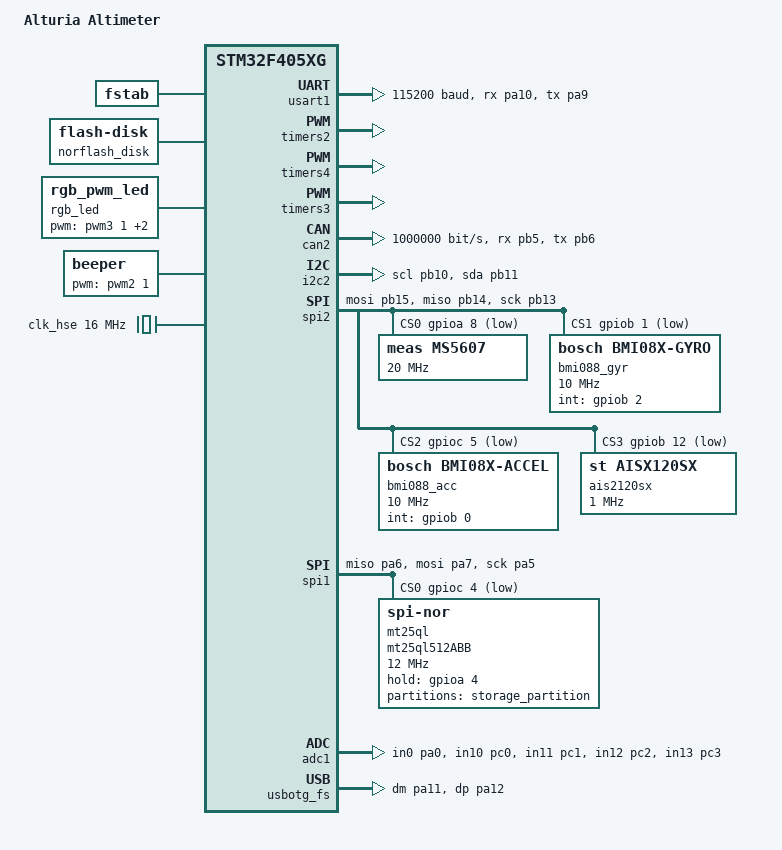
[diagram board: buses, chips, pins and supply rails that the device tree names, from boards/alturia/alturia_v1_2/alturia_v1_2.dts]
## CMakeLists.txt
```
cmake_minimum_required(VERSION 3.13.1)

set(BOARD_ROOT ${CMAKE_CURRENT_LIST_DIR})

if(BOARD MATCHES alturia_v1_2)
	set(BOARD_FLASH_RUNNER jlink)
	set(BOARD_DEBUG_RUNNER jlink)
endif()

set(DTS_ROOT ${CMAKE_CURRENT_LIST_DIR})
set(CMAKE_EXPORT_COMPILE_COMMANDS ON)
set(ZEPHYR_EXTRA_MODULES ${CMAKE_CURRENT_LIST_DIR}/lib/zephyr-lua)
find_package(Zephyr REQUIRED HINTS $ENV{ZEPHYR_BASE})
#include($ENV{ZEPHYR_BASE}/cmake/app/boilerplate.cmake NO_POLICY_SCOPE)


project(alturia_firmware)

set_property(TARGET app PROPERTY C_STANDARD 11)
target_include_directories(app PRIVATE src/generated/
				       src/filter/
				       src/
				       src/configuration
				       src/execution_engine/
				       src/lua_execution_engine/
					   lib/cJSON/)

function(cached_symbolic_codegen)
	cmake_parse_arguments(
		ARGS
		""
		"TARGET;SYMBOLIC_SCRIPT;SYSNAME"
		""
		${ARGN}
	)

	add_custom_command(OUTPUT ${CMAKE_CURRENT_LIST_DIR}/design/${ARGS_SYSNAME}.pkl
			   COMMAND python ${ARGS_SYMBOLIC_SCRIPT} --outfile ${CMAKE_CURRENT_LIST_DIR}/design/${ARGS_SYSNAME}.pkl
			   DEPENDS ${ARGS_SYMBOLIC_SCRIPT}
			   COMMENT "Generate symbolic representation of ${ARGS_SYSNAME}r")

	add_custom_command(OUTPUT ${CMAKE_CURRENT_LIST_DIR}/src/generated/${ARGS_SYSNAME}.c
				  ${CMAKE_CURRENT_LIST_DIR}/src/generated/${ARGS_SYSNAME}.h
			   COMMAND python ${CMAKE_CURRENT_LIST_DIR}/design/codegen.py
					--input ${CMAKE_CURRENT_LIST_DIR}/design/${ARGS_SYSNAME}.pkl
					--prefix ${ARGS_SYSNAME}
					--outdir ${CMAKE_CURRENT_LIST_DIR}/src/generated &&
					uncrustify --replace --no-backup -l C -c ${CMAKE_CURRENT_LIST_DIR}/.uncrustify.cfg ${CMAKE_CURRENT_LIST_DIR}/src/generated/${ARGS_SYSNAME}.c >/dev/null 2>&1 &&
					uncrustify --replace --no-backup -l C -c ${CMAKE_CURRENT_LIST_DIR}/.uncrustify.cfg ${CMAKE_CURRENT_LIST_DIR}/src/generated/${ARGS_SYSNAME}.h >/dev/null 2>&1
			   DEPENDS ${CMAKE_CURRENT_LIST_DIR}/design/${ARGS_SYSNAME}.pkl
			   COMMENT "Generate c code for ${ARGS_SYSNAME}")

	target_sources(${ARGS_TARGET} PRIVATE ${CMAKE_CURRENT_LIST_DIR}/src/generated/${ARGS_SYSNAME}.c
					      ${CMAKE_CURRENT_LIST_DIR}/src/generated/${ARGS_SYSNAME}.h)
endfunction()

function(symbolic_codegen)
	cmake_parse_arguments(
		ARGS
		""
		"TARGET;SYMBOLIC_SCRIPT;PREFIX"
		""
		${ARGN}
	)

	add_custom_command(OUTPUT ${CMAKE_CURRENT_LIST_DIR}/src/generated/${ARGS_PREFIX}.c
				  ${CMAKE_CURRENT_LIST_DIR}/src/generated/${ARGS_PREFIX}.h
				  COMMAND python ${ARGS_SYMBOLIC_SCRIPT}
				  --prefix ${ARGS_PREFIX}
				  --outdir ${CMAKE_CURRENT_LIST_DIR}/src/generated &&
				  uncrustify --replace --no-backup -l C -c ${CMAKE_CURRENT_LIST_DIR}/.uncrustify.cfg ${CMAKE_CURRENT_LIST_DIR}/src/generated/${ARGS_PREFIX}.c >/dev/null 2>&1 &&
				  uncrustify --replace --no-backup -l C -c ${CMAKE_CURRENT_LIST_DIR}/.uncrustify.cfg ${CMAKE_CURRENT_LIST_DIR}/src/generated/${ARGS_PREFIX}.h >/dev/null 2>&1
		     DEPENDS ${ARGS_SYMBOLIC_SCRIPT}
		     COMMENT "Generate c code for ${ARGS_PREFIX}")

	target_sources(${ARGS_TARGET} PRIVATE ${CMAKE_CURRENT_LIST_DIR}/src/generated/${ARGS_PREFIX}.c
					      ${CMAKE_CURRENT_LIST_DIR}/src/generated/${ARGS_PREFIX}.h)
endfunction()

cached_symbolic_codegen(TARGET app
	SYMBOLIC_SCRIPT ${CMAKE_CURRENT_LIST_DIR}/design/altitude_kalman_filter.py
	SYSNAME altitude_kalman_impl)

cached_symbolic_codegen(TARGET app
	SYMBOLIC_SCRIPT ${CMAKE_CURRENT_LIST_DIR}/design/vertical_dynamics_kalman_filter.py
	SYSNAME vertical_dynamics_kalman_impl)

cached_symbolic_codegen(TARGET app
	SYMBOLIC_SCRIPT ${CMAKE_CURRENT_LIST_DIR}/design/constant_altitude_kalman_filter.py
	SYSNAME constant_altitude_kalman_impl)

symbolic_codegen(TARGET app
	SYMBOLIC_SCRIPT ${CMAKE_CURRENT_LIST_DIR}/design/transformations.py
	PREFIX transformations_impl)

symbolic_codegen(TARGET app
	SYMBOLIC_SCRIPT ${CMAKE_CURRENT_LIST_DIR}/design/attitude_estimation.py
	PREFIX attitude_estimation_impl)

symbolic_codegen(TARGET app
	SYMBOLIC_SCRIPT ${CMAKE_CURRENT_LIST_DIR}/design/mahony_filter.py
	PREFIX mahohny_attitude_estimation_impl)

zephyr_linker_sources(DATA_SECTIONS iterables.ld)

target_sources(app PRIVATE src/util.c
			   src/signals.c
			   src/sysinit.c
			   src/alturia.c
			   src/beeper.c
			   #src/pil.c
			   src/main.c
			   src/led.c
			   src/events2.c
			   src/datalogger.c
			   src/is_atmosphere.c
			   src/pyros.c
			   src/daq.c
			   src/daq_sensor.c
			   src/generic.c
			   src/filter/kalman_filter.c
			   src/filter/attitude_estimation.c
			   src/math_ex.c
			   src/servos.c
			   src/eventtimer.c
			   src/edge_detector.c
			   src/config_yaml.c
			   src/config_shell.c
			   src/servo_shell.c
			   src/lua_execution_engine/lua_execution_engine.c
			   src/lua_execution_engine/lua_ledlib.c
			   src/lua_execution_engine/lua_timerlib.c
			   src/lua_execution_engine/lua_servolib.c
			   src/lua_execution_engine/lua_signallib.c
			   src/lua_execution_engine/lua_eventlib.c
			   src/lua_execution_engine/lua_pyrolib.c
			   src/rocket/signal_processing.c
			   src/rocket/flightstate.c
			   src/rocket/data_logging.c
			   src/rocket/beeper_logic.c
			   src/pwm_rgb_led.c
			   src/filter/pt1.c
			   lib/cJSON/cJSON.c)
```

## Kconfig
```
menu "Alturia"
	config SERVOS
		bool "Enable servo support"
		default $(dt_has_compat,servos)

	menu "Datalogger"
		module := DATALOGGER
		module-str := Datalogger
		rsource "Kconfig.loglevel"

		config DATALOGGER_THREAD_PRIORITY
			int "Datalogger thread priority"
			default 0
		config DATALOGGER_STACK_SIZE
			int "Stack size for datalogger thread"
			default 2048
		config DATALOGGER_BUFFER_SIZE
			int "Buffer size in bytes"
			default 1024
			help
				Buffer size for internal datalogger memory allocations
	endmenu

	menuconfig PYROS
		bool "Pyros"
		default $(dt_has_compat, pyros)

		if PYROS
		config PYROS_ON_TIME
			int "On time"
			default 1000
			help
			Pyro on time in milliseconds
		endif

	menu "DAQ"
		module := DAQ
		module-str := DAQ
		rsource "Kconfig.loglevel"

		config DAQ_PRIO
			int "Priority of daq thread"
			default 0
		config SENSOR_DAQ_STACK_SIZE
			int "Stack size for sensor daq threads"
			default 512
	endmenu

	menu "Lua"
		config LUA_WORKER_PRIO
			int "Priority of lua work handler"
			default 0
	endmenu

	menu "Event system"
		config EVENT_HANDLER_THREAD_STACK_SIZE
			int "Stack size of async event handler thread"
			default 2048

		config EVENT_QUEUE_LENGTH
			int "Maximum number of enqueued async events"
			default 256

		config EVENT_TIMERS_NUMBER
			int "Maximum number of event timers"
			default 8
	endmenu
endmenu

source "$ZEPHYR_BASE/Kconfig"
```

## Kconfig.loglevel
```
# SPDX-License-Identifier: Apache-2.0

choice
	prompt "Max compiled-in log level for $(module-str)"
	default $(module)_LOG_LEVEL_INF
	depends on LOG

config $(module)_LOG_LEVEL_OFF
	bool "Off"

config $(module)_LOG_LEVEL_ERR
	bool "Error"

config $(module)_LOG_LEVEL_WRN
	bool "Warning"

config $(module)_LOG_LEVEL_INF
	bool "Info"

config $(module)_LOG_LEVEL_DBG
	bool "Debug"

endchoice

config $(module)_LOG_LEVEL
	int
	depends on LOG
	default 0 if $(module)_LOG_LEVEL_OFF
	default 1 if $(module)_LOG_LEVEL_ERR
	default 2 if $(module)_LOG_LEVEL_WRN
	default 3 if $(module)_LOG_LEVEL_INF
	default 4 if $(module)_LOG_LEVEL_DBG
```

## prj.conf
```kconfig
#
# Kernel
#
CONFIG_KERNEL_SHELL=y
CONFIG_SCHED_MULTIQ=y
CONFIG_WAITQ_SCALABLE=y
CONFIG_REBOOT=y

#
# Shell
#
CONFIG_SHELL_THREAD_PRIORITY_OVERRIDE=y
CONFIG_SHELL_THREAD_PRIORITY=2

#
# Application
#
CONFIG_SENSOR=y
CONFIG_CMSIS_DSP=y
CONFIG_MAIN_THREAD_PRIORITY=-1
CONFIG_MAIN_STACK_SIZE=2048
CONFIG_LOG=y
CONFIG_LOG_MODE_DEFERRED=y

CONFIG_NEWLIB_LIBC=y
CONFIG_NEWLIB_LIBC_FLOAT_PRINTF=y
CONFIG_MAIN_STACK_SIZE=2048

CONFIG_LOG=y
CONFIG_SHELL=y
CONFIG_SHELL_PROMPT_UART="alturia:~$ "
CONFIG_DEVICE_SHELL=y
CONFIG_HEAP_MEM_POOL_SIZE=8192
CONFIG_DATALOGGER_BUFFER_SIZE=4096
CONFIG_DATALOGGER_THREAD_PRIORITY=3
CONFIG_SMF=y

#
# Lua
#
CONFIG_LUA=y
CONFIG_LUA_WORKER_PRIO=0
CONFIG_LUA_BASELIB=y
```

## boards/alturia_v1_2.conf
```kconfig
#CONFIG_SYS_POWER_MANAGEMENT=y
CONFIG_SERIAL=y
CONFIG_ARM_MPU=y
CONFIG_MPU_STACK_GUARD=y
CONFIG_PINCTRL=y

#
# Sensors
#
CONFIG_MS5607=y
CONFIG_MS5607_PRES_OVER_512X=y
CONFIG_MS5607_TEMP_OVER_512X=y

#
# Disk option
#
CONFIG_DISK_ACCESS=y
CONFIG_DISK_DRIVER_FLASH=y

#
# USB Options
#
CONFIG_USB_DEVICE_STACK=y
CONFIG_USB_DEVICE_MANUFACTURER="Thomas Schmid"
CONFIG_USB_DEVICE_PRODUCT="Alturia Altimeter"
CONFIG_USB_COMPOSITE_DEVICE=y
CONFIG_UART_LINE_CTRL=y
CONFIG_USB_MASS_STORAGE=y
CONFIG_USB_CDC_ACM=y
CONFIG_MASS_STORAGE_STACK_SIZE=2048
CONFIG_MASS_STORAGE_DISK_NAME="NOR_FLASH"

#
# Filesystem
#
CONFIG_FLASH=y
CONFIG_FLASH_MAP=y
CONFIG_SPI_NOR_FLASH_LAYOUT_PAGE_SIZE=4096
CONFIG_FILE_SYSTEM=y
CONFIG_FILE_SYSTEM_LITTLEFS=y
CONFIG_FILE_SYSTEM_SHELL=y
```

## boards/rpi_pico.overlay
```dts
/ {
	chosen {
		zephyr,shell-uart = &cdc_acm_uart0;
		//zephyr,shell-uart = &uart0;
	};

	aliases {
		pressure-sensor = &bmp;
		led = &board_led;
	};

	board_led: board_led {
		compatible = "rgb_pwm_led";
		status = "ok";
		pwms = <&pwm 3 PWM_MSEC(20) PWM_POLARITY_INVERTED>,
			   <&pwm 4 PWM_MSEC(20) PWM_POLARITY_INVERTED>,
			   <&pwm 5 PWM_MSEC(20) PWM_POLARITY_INVERTED>;
		pwm-names = "r", "g", "b";
	};

	pyros: pyros {
		compatible = "pyros";
		pyro1 {
			gpios = <&gpio0 5 0>;
		};
		pyro2 {
			gpios = <&gpio0 6 0>;
		};
		pyro3 {
			gpios = <&gpio0 7 0>;
		};
		pyro4 {
			gpios = <&gpio0 8 0>;
		};
	};
};

&pwm {
	status = "ok";
	pinctrl-0 = <&pwm_default>;
	pinctrl-names = "default";
	divider-int-0 = <255>;
};

&flash0 {
	reg = <0x10000000 DT_SIZE_M(2)>;

	partitions {
		compatible = "fixed-partitionws";
		#address-cells = <1>;
		#size-cells = <1>;

		/* Reserved memory for the second stage bootloader */
		second_stage_bootloader: partition@0 {
			label = "second_stage_bootloader";
			reg = <0x00000000 0x100>;
			read-only;
		};

		/*
		 * Usable flash. Starts at 0x100, after the bootloader. The partition
		 * size is 2MB minus the 0x100 bytes taken by the bootloader.
		 */
		code_partition: partition@100 {
			label = "code-partition";
			reg = <0x100 (DT_SIZE_M(2) - 0x100)>;
			read-only;
		};
	};
};

&uart0 {
	status = "ok";
	pinctrl-0 = <&uart0_default>;
	pinctrl-names = "default";
};

&i2c0 {
	status = "ok";
	pinctrl-0 = <&i2c0_selected>;
	pinctrl-names = "default";
	bmp: bmp@76 {
		compatible = "bosch,bme280";
		label = "bmp280";
		status = "ok";
		reg = <0x76>;
	};	
};

&pinctrl {
	uart0_default: uart0_default {
		group1 {
			pinmux = <UART0_TX_P0>;
		};
		group2 {
			pinmux = <UART0_RX_P1>;
		};
	};

	i2c0_selected: i2c0_selected {
		group1 {
			pinmux = <I2C0_SDA_P20>, <I2C0_SCL_P21>;
			input-enable;
			input-schmitt-enable;
		};
	};

	pwm_default: pwm_default {
		group1 {
			pinmux = <PWM_1B_P3>, <PWM_2A_P4>, <PWM_2B_P5>;
		};
	};
};

&zephyr_udc0 {
	cdc_acm_uart0: cdc_acm_uart0 {
		compatible = "zephyr,cdc-acm-uart";
		label = "CDC_ACM_0";
	};
};
```

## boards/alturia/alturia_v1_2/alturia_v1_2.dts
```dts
/dts-v1/;
#include <st/f4/stm32f405Xg.dtsi>
#include <st/f4/stm32f405rgtx-pinctrl.dtsi>


/ {
	model = "Alturia Altimeter";
	compatible = "alturia_v1_2";

	chosen {
		zephyr,console = &usart1;
		//zephyr,shell-uart = &usart1;
		zephyr,shell-uart = &cdc_acm_uart0;
		zephyr,sram = &sram0;
		zephyr,flash = &flash0;
		zephyr,code-partition = &slot0_partition;
		zephyr,ccm = &ccm0;
	};

	aliases {
		pressure-sensor = &ms5607;
		acc-sensor = &bmi088_acc;
		gyro-sensor = &bmi088_gyr;
		highg-sensor = &ais2120sx;
		norflash = &mt25ql;
		led = &rgb_led;
	};

	fstab {
		compatible = "zephyr,fstab";
		lfs: lfs {
			compatible = "zephyr,fstab,littlefs";
			mount-point = "/lfs";
			partition = <&storage_partition>;
			automount;
			read-size = <16>;
			prog-size = <16>;
			cache-size = <64>;
			lookahead-size = <32>;
			block-cycles = <2048>;
		};
	};

	norflash_disk {
		compatible = "zephyr,flash-disk";
		partition = <&storage_partition>;
		disk-name = "NOR_FLASH";
		cache-size = <4096>;
	};

	rgb_led: rgb_led {
		compatible = "rgb_pwm_led";

		pwms = <&pwm3 1 100000 PWM_POLARITY_INVERTED>,
			   <&pwm3 2 100000 PWM_POLARITY_INVERTED>,
			   <&pwm3 3 100000 PWM_POLARITY_INVERTED>;

		pwm-names = "r", "g", "b";
	};

	pyros: pyros {
		compatible = "pyros";
		pyro1 {
			gpios = <&gpioa 2 0>;
		};
		pyro2 {
			gpios = <&gpioa 1 0>;
		};
		pyro3 {
			gpios = <&gpioc 14 0>;
		};
		pyro4 {
			gpios = <&gpioa 3 0>;
		};
	};

	beeper: beeper {
		compatible = "beeper";
		pwms = <&pwm2 1 50000000 PWM_POLARITY_NORMAL>;
	};

	servos: servos {
		compatible = "servos";
		servo1 {
			pwms = <&pwm4 3 5000000 PWM_POLARITY_NORMAL>;
		};
		servo2 {
			pwms = <&pwm4 4 5000000 PWM_POLARITY_NORMAL>;
		};
	};
};

&flash0 {
	partitions {
		compatible = "fixed-partitions";
		#address-cells = <0x1>;
		#size-cells = <0x1>;

		boot_partition: partition@0{
			reg = <0x0 0x00010000>;
		};
		slot0_partition: partition@10000 {
			reg = <0x00010000 0xF0000>;
		};
	};
};

&clk_hse	{
	clock-frequency = <DT_FREQ_M(16)>;
	status = "okay";
};

&pll	{
	div-m = <16>;
	mul-n = <336>;
	div-p = <2>;
	div-q = <7>;
	clocks =<&clk_hse>;
	status = "okay";
};

&rcc	{
	clocks = <&pll>;
	clock-frequency = <DT_FREQ_M(168)>;
	ahb-prescaler = <1>;
	apb1-prescaler = <4>;
	apb2-prescaler = <2>;
};

&usart1 {
	pinctrl-0 = <&usart1_rx_pa10 &usart1_tx_pa9>;
	pinctrl-names = "default";
	current-speed = <115200>;
	status = "okay";
};

&timers2 {
	status = "okay";
	st,prescaler = <100>;
	pwm2: pwm {
		pinctrl-0 = <&tim2_ch1_pa15>;
		pinctrl-names = "default";
		status = "okay";
	};
};

&timers4 {
	status = "okay";
	st,prescaler = <100>;
	pwm4: pwm {
		pinctrl-0 = <&tim4_ch3_pb8 &tim4_ch4_pb9>;
		pinctrl-names = "default";
		status = "okay";
	};
};

&timers3 {
	status = "okay";
	st,prescaler = <100>;
	pwm3: pwm {
		pinctrl-0 = <&tim3_ch1_pc6 &tim3_ch2_pc7 &tim3_ch3_pc8>;
		pinctrl-names = "default";
		status = "okay";
	};
};

&can2 {
	pinctrl-0 = <&can2_rx_pb5 &can2_tx_pb6>;
	pinctrl-names = "default";
	bitrate = <1000000>;
	status = "okay";
};

&i2c2 {
	status = "okay";
	pinctrl-0 = <&i2c2_scl_pb10 &i2c2_sda_pb11>;
	pinctrl-names = "default";
};

&spi2 {
	status = "okay";
	pinctrl-0 = <&spi2_mosi_pb15 &spi2_miso_pb14 &spi2_sck_pb13>;
	pinctrl-names = "default";
	cs-gpios = <&gpioa 8 (GPIO_ACTIVE_LOW)>,
		   <&gpiob 1 (GPIO_ACTIVE_LOW)>,
		   <&gpioc 5 (GPIO_ACTIVE_LOW)>,
		   <&gpiob 12 (GPIO_ACTIVE_LOW)>;
	ms5607: ms5607@0 {
		status = "okay";
		compatible = "meas,ms5607";
		reg = <0>;
		spi-max-frequency = <20000000>;
	};
	bmi088_gyr: bmi088_gyr@1 {
		status = "okay";
		compatible = "bosch,bmi08x-gyro";
		reg = <1>;
		gyro-hz = "1000_116";
		gyro-fs = <2000>;
		int-gpios = <&gpiob 2 (GPIO_ACTIVE_HIGH)>;
		int3-4-map-io = <0x01>;
		int3-4-conf-io = <0x01>;
		spi-max-frequency = <10000000>;
	};
	bmi088_acc: bmi088_acc@2 {
		status = "okay";
		compatible = "bosch,bmi08x-accel";
		reg = <2>;
		int-gpios = <&gpiob 0 (GPIO_ACTIVE_HIGH)>;
		int1-map-io = <0x01>;
		int2-map-io = <0x00>;
		int1-conf-io = <0x05>;
		int2-conf-io = <0x00>;
		accel-hz = "200";
		accel-fs = <24>;
		spi-max-frequency = <10000000>;
	};
	ais2120sx: ais2120sx@3 {
		status = "okay";
		compatible ="st,aisx120sx";
		reg = <3>;
		spi-max-frequency = <1000000>;
	};
};

&spi1 {
	pinctrl-0 = <&spi1_miso_pa6 &spi1_mosi_pa7 &spi1_sck_pa5>;
	pinctrl-names = "default";
	status = "okay";
	cs-gpios = <&gpioc 4 (GPIO_ACTIVE_LOW)>;
	mt25ql: mt25ql512ABB@0 {
		status = "okay";
		compatible = "jedec,spi-nor";
		reg = <0>;
		spi-max-frequency = <12000000>;
		jedec-id = [20 BA 20];
		size = <536870912>;
		sfdp-bfp = [
			e5 20 fb ff  ff ff ff 1f  29 eb 27 6b  27 3b 27 bb
			ff ff ff ff  ff ff 27 bb  ff ff 29 eb  0c 20 10 d8
			0f 52 00 00  24 4a 99 00  8b 8e 03 e1  ac 01 27 38
			7a 75 7a 75  fb bd d5 5c  4a 0f 82 ff  81 bd 3d 36
			];

		hold-gpios = <&gpioa 4 0>;
	};
};

&mt25ql {
	partitions {
		compatible = "fixed-partitions";
		#address-cells = <1>;
		#size-cells = <1>;
		storage_partition: partition@0 {
			reg = <0x00000 0x3D09000>;
		};
	};
};

&adc1 {
	status = "okay";
	pinctrl-0 = <&adc1_in0_pa0 &adc1_in10_pc0 &adc1_in11_pc1 &adc1_in12_pc2 &adc1_in13_pc3>;
	pinctrl-names = "default";
	st,adc-clock-source = <SYNC>;
	st,adc-prescaler = <2>;
};

&usbotg_fs {
	pinctrl-0 = <&usb_otg_fs_dm_pa11 &usb_otg_fs_dp_pa12>;
	pinctrl-names = "default";
	status = "okay";

	cdc_acm_uart0: cdc_acm_uart0 {
             compatible = "zephyr,cdc-acm-uart";
     };
};
```

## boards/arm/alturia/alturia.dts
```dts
/dts-v1/;
#include <st/f3/stm32f303Xc.dtsi>

/ {
	model = "Alturia Altimeter";
	compatible = "alturia";

	chosen {
		zephyr,console = &usart1;
		zephyr,shell-uart = &usart1;
		zephyr,sram = &sram0;
		zephyr,flash = &flash0;
		zephyr,ccm = &ccm0;
	};

	aliases {
		led0 = &user_led;
		pressure-sensor = &ms5607;
		acc-sensor = &bmi088_acc;
		gyro-sensor = &bmi088_gyr;
		highg-sensor = &ais2120sx;
	};

	leds {
		compatible = "gpio-leds";
		user_led: led_0 {
			gpios = <&gpioa 15 GPIO_INT_ACTIVE_HIGH>;
			label = "User LED";
		};
	};

	pyros{
		compatible = "pyros";
		gpios = <&gpiob 4 0>, <&gpiob 5 0>, <&gpiob 6 0>, <&gpiob 7 0>;
	};

	beeper {
		compatible = "beeper";
		pwms = <&pwm2 4 1000000>;
	};

	servos {
		compatible = "servos";
		pwms = <&pwm8 2 50000000>, <&pwm8 3 50000000>;
	};
};

&rtc {
	status = "okay";
};

&usart1 {
	current-speed = <1000000>;
	status = "okay";
};

&timers2 {
	status = "okay";
	pwm2: pwm {
		st,prescaler = <100>;
		status = "okay";
	};
};

&timers4 {
	status = "okay";
	pwm4: pwm {
		st,prescaler = <100>;
		status = "okay";
	};
};

&timers8 {
	status = "okay";
	pwm8: pwm {
		st,prescaler = <100>;
		status = "okay";
	};
};

&spi1 {
	status = "okay";
	cs-gpios = <&gpiob 1 0>,  <&gpiob 10 0>, <&gpiob 2 0>, <&gpiob 0 0>;
	ms5607: ms5607@0 {
		status = "okay";
		compatible = "meas,ms5607";
		reg = <0>;
		label= "ms5607";
		spi-max-frequency = <20000000>;
	};
	bmi088_gyr: bmi088_gyr@1 {
		status = "okay";
		compatible = "bosch,bmi088-gyro";
		reg = <1>;
		label = "bmi088-gyro";
		spi-max-frequency = <10000000>;
	};
	bmi088_acc: bmi088_acc@2 {
		status = "okay";
		compatible = "bosch,bmi088-accel";
		reg = <2>;
		label = "bmi088-accel";
		spi-max-frequency = <10000000>;
	};
	ais2120sx: ais2120sx@3 {
		status = "okay";
		compatible ="st,aisx120sx";
		reg = <3>;
		label = "aisx2120sx";
		spi-max-frequency = <1000000>;
	};
};

&spi2 {
	status = "okay";
	cs-gpios = <&gpiob 12 0>;
	s25fl512: s25fl512@0 {
		compatible = "jedec,spi-nor";
		reg = <0>;
		label="s25fl512";
		spi-max-frequency = <20000000>;
		jedec-id = [01 02 20];
		page-size = <0x200>;
		erase-types = <0x40000 0xD8 0 0 0 0 0 0>;
		size = <536870912>;
		hold-gpios = <&gpioc 13 0>;
	};
};

&s25fl512 {
	partitions {
		compatible = "fixed-partitions";
		#address-cells = <1>;
		#size-cells = <1>;
		storage_partition: partition@0 {
			label = "storage";
			reg = <0x00000 0x4000000>;
		};
	};
};

&adc1 {
	status = "okay";
};

&usb {
	status = "okay";
};
```

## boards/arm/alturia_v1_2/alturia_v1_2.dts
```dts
/dts-v1/;
#include <st/f4/stm32f405Xg.dtsi>
#include <st/f4/stm32f405rgtx-pinctrl.dtsi>


/ {
	model = "Alturia Altimeter";
	compatible = "alturia_v1_2";

	chosen {
		zephyr,console = &usart1;
		//zephyr,shell-uart = &usart1;
		zephyr,shell-uart = &cdc_acm_uart0;
		zephyr,sram = &sram0;
		zephyr,flash = &flash0;
		zephyr,code-partition = &slot0_partition;
		zephyr,ccm = &ccm0;
	};

	aliases {
		pressure-sensor = &ms5607;
		acc-sensor = &bmi088_acc;
		gyro-sensor = &bmi088_gyr;
		highg-sensor = &ais2120sx;
		norflash = &mt25ql;
		led = &rgb_led;
	};

	fstab {
		compatible = "zephyr,fstab";
		lfs: lfs {
			compatible = "zephyr,fstab,littlefs";
			mount-point = "/lfs";
			partition = <&storage_partition>;
			automount;
			read-size = <16>;
			prog-size = <16>;
			cache-size = <64>;
			lookahead-size = <32>;
			block-cycles = <2048>;
		};
	};

	norflash_disk {
		compatible = "zephyr,flash-disk";
		partition = <&storage_partition>;
		disk-name = "NOR_FLASH";
		cache-size = <4096>;
	};

	rgb_led: rgb_led {
		compatible = "rgb_pwm_led";

		pwms = <&pwm3 1 100000 PWM_POLARITY_INVERTED>,
			   <&pwm3 2 100000 PWM_POLARITY_INVERTED>,
			   <&pwm3 3 100000 PWM_POLARITY_INVERTED>;

		pwm-names = "r", "g", "b";
	};

	pyros: pyros {
		compatible = "pyros";
		pyro1 {
			gpios = <&gpioa 2 0>;
		};
		pyro2 {
			gpios = <&gpioa 1 0>;
		};
		pyro3 {
			gpios = <&gpioc 14 0>;
		};
		pyro4 {
			gpios = <&gpioa 3 0>;
		};
	};

	beeper: beeper {
		compatible = "beeper";
		pwms = <&pwm2 1 50000000 PWM_POLARITY_NORMAL>;
	};

	servos: servos {
		compatible = "servos";
		servo1 {
			pwms = <&pwm4 3 5000000 PWM_POLARITY_NORMAL>;
		};
		servo2 {
			pwms = <&pwm4 4 5000000 PWM_POLARITY_NORMAL>;
		};
	};
};

&flash0 {
	partitions {
		compatible = "fixed-partitions";
		#address-cells = <0x1>;
		#size-cells = <0x1>;
		
		boot_partition: partition@0{
			reg = <0x0 0x00010000>;
		};
		slot0_partition: partition@10000 {
			reg = <0x00010000 0xF0000>;
		};
	};
};

&clk_hse	{
	clock-frequency = <DT_FREQ_M(16)>;
	status = "okay";
};

&pll	{
	div-m = <16>;
	mul-n = <336>;
	div-p = <2>;
	div-q = <7>;
	clocks =<&clk_hse>;
	status = "okay";
};

&rcc	{
	clocks = <&pll>;
	clock-frequency = <DT_FREQ_M(168)>;
	ahb-prescaler = <1>;
	apb1-prescaler = <4>;
	apb2-prescaler = <2>;
};

&usart1 {
	pinctrl-0 = <&usart1_rx_pa10 &usart1_tx_pa9>;
	pinctrl-names = "default";
	current-speed = <115200>;
	status = "okay";
};

&timers2 {
	status = "okay";
	st,prescaler = <100>;
	pwm2: pwm {
		pinctrl-0 = <&tim2_ch1_pa15>;
		pinctrl-names = "default";
		status = "okay";
	};
};

&timers4 {
	status = "okay";
	st,prescaler = <100>;
	pwm4: pwm {
		pinctrl-0 = <&tim4_ch3_pb8 &tim4_ch4_pb9>;
		pinctrl-names = "default";
		status = "okay";
	};
};

&timers3 {
	status = "okay";
	st,prescaler = <100>;
	pwm3: pwm {
		pinctrl-0 = <&tim3_ch1_pc6 &tim3_ch2_pc7 &tim3_ch3_pc8>;
		pinctrl-names = "default";
		status = "okay";
	};
};

&can2 {
	pinctrl-0 = <&can2_rx_pb5 &can2_tx_pb6>;
	pinctrl-names = "default";
	bus-speed = <1000000>;
	sjw = <1>;
	status = "okay";
};

&i2c2 {
	status = "okay";
	pinctrl-0 = <&i2c2_scl_pb10 &i2c2_sda_pb11>;
	pinctrl-names = "default";
};

&spi2 {
	status = "okay";
	pinctrl-0 = <&spi2_mosi_pb15 &spi2_miso_pb14 &spi2_sck_pb13>;
	pinctrl-names = "default";
	cs-gpios = <&gpioa 8 (GPIO_ACTIVE_LOW)>,
		   <&gpiob 1 (GPIO_ACTIVE_LOW)>,
		   <&gpioc 5 (GPIO_ACTIVE_LOW)>,
		   <&gpiob 12 (GPIO_ACTIVE_LOW)>;
	ms5607: ms5607@0 {
		status = "okay";
		compatible = "meas,ms5607";
		reg = <0>;
		spi-max-frequency = <20000000>;
	};
	bmi088_gyr: bmi088_gyr@1 {
		status = "okay";
		compatible = "bosch,bmi08x-gyro";
		reg = <1>;
		gyro-hz = "1000_116";
		gyro-fs = <2000>;
		int-gpios = <&gpiob 2 (GPIO_ACTIVE_HIGH)>;
		int3-4-map-io = <0x01>;
		int3-4-conf-io = <0x01>;
		spi-max-frequency = <10000000>;
	};
	bmi088_acc: bmi088_acc@2 {
		status = "okay";
		compatible = "bosch,bmi08x-accel";
		reg = <2>;
		int-gpios = <&gpiob 0 (GPIO_ACTIVE_HIGH)>;
		int1-map-io = <0x01>;
		int2-map-io = <0x00>;
		int1-conf-io = <0x05>;
		int2-conf-io = <0x00>;
		accel-hz = "200";
		accel-fs = <24>;
		spi-max-frequency = <10000000>;
	};
	ais2120sx: ais2120sx@3 {
		status = "okay";
		compatible ="st,aisx120sx";
		reg = <3>;
		spi-max-frequency = <1000000>;
	};
};

&spi1 {
	pinctrl-0 = <&spi1_miso_pa6 &spi1_mosi_pa7 &spi1_sck_pa5>;
	pinctrl-names = "default";
	status = "okay";
	cs-gpios = <&gpioc 4 (GPIO_ACTIVE_LOW)>;
	mt25ql: mt25ql512ABB@0 {
		status = "okay";
		compatible = "jedec,spi-nor";
		reg = <0>;
		spi-max-frequency = <12000000>;
		jedec-id = [20 BA 20];
		size = <536870912>;
		sfdp-bfp = [
			e5 20 fb ff  ff ff ff 1f  29 eb 27 6b  27 3b 27 bb
			ff ff ff ff  ff ff 27 bb  ff ff 29 eb  0c 20 10 d8
			0f 52 00 00  24 4a 99 00  8b 8e 03 e1  ac 01 27 38
			7a 75 7a 75  fb bd d5 5c  4a 0f 82 ff  81 bd 3d 36
			];

		hold-gpios = <&gpioa 4 0>;
	};
};

&mt25ql {
	partitions {
		compatible = "fixed-partitions";
		#address-cells = <1>;
		#size-cells = <1>;
		storage_partition: partition@0 {
			reg = <0x00000 0x3D09000>;
		};
	};
};

&adc1 {
	status = "okay";
	pinctrl-0 = <&adc1_in0_pa0 &adc1_in10_pc0 &adc1_in11_pc1 &adc1_in12_pc2 &adc1_in13_pc3>;
	pinctrl-names = "default";
};

&usbotg_fs {
	pinctrl-0 = <&usb_otg_fs_dm_pa11 &usb_otg_fs_dp_pa12>;
	pinctrl-names = "default";
	status = "okay";

	cdc_acm_uart0: cdc_acm_uart0 {
             compatible = "zephyr,cdc-acm-uart";
     };
};
```

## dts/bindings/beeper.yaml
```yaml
compatible: "beeper"

description: "Device tree node representing a single beeper device driven by a pwm signal"

properties:
        pwms:
                type: phandle-array
                required: true
```

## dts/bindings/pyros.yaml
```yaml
compatible: "pyros"

description: "Device tree node representing a number of pyros"

child-binding:
  description: Pyro child node
  properties:
    gpios:
      type: phandle-array
      required: true
```

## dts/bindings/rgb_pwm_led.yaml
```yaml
compatible: "rgb_pwm_led"

description: "Device tree node representing a single rgb led driven by three pwm pins"

properties:
  pwms:
    type: phandle-array
    required: true
  pwm-names:
    type: string-array
```

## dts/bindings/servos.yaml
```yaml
compatible: "servos"

description: "Device tree node representing a number of servos"


child-binding:
  description: Servo child binding
  properties:
    pwms:
      type: phandle-array
      required: true
```

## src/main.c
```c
/*
 * Alturia Firmware - The firmware for the alturia flight computer
 *
 * Copyright (c) Thomas Schmid, 2019
 *
 * Authors:
 *  Thomas Schmid <tom@lfence.de>
 *
 * This work is licensed under the terms of the GNU GPL, version 3.  See
 * the COPYING file in the top-level directory.
 */

#define _DEFAULT_SOURCE 1
#include <zephyr/kernel.h>
#include <zephyr/logging/log.h>
#include <string.h>
#include <stdio.h>
#include <zephyr/usb/usb_device.h>
#include "sysinit.h"
#include <zephyr/fs/fs.h>
#include "lua.h"
#include "lualib.h"
#include "lauxlib.h"
#include "lua_execution_engine.h"
#include "daq.h"
#include "rocket/signal_processing.h"
#include "rocket/flightstate.h"
#include "rocket/data_logging.h"
#include "signals.h"
#include "events2.h"
#include "alturia.h"
#include "util.h"
#include "datalogger.h"
#include "beeper.h"
#include "rocket/beeper_logic.h"
#include "config_yaml.h"

LOG_MODULE_DECLARE(alturia);

DECLARE_SIGNAL(signal_h);
DECLARE_SIGNAL(signal_h_raw);
DECLARE_SIGNAL(signal_v_w);
DECLARE_SIGNAL(signal_pressure);
DECLARE_SIGNAL(signal_a_raw);
DECLARE_SIGNAL(signal_omega_raw);
DECLARE_SIGNAL(signal_q);

extern struct event2 event_boot;

void evt_callback(struct event2 *evt) {
	LOG_INF("event %s", evt->evt_name);
}

int main(void)
{
	int rc = 0;
	init_config(NULL);

	daq_set_api_provider(sensor_daq_get_api_provider());
	daq_set_sample_interval(K_MSEC(10));
	daq_start();

	lua_engine_init();
	#if CONFIG_FILE_SYSTEM
	lua_engine_dofile("/lfs/config/flightconfig.lua");
	#endif

	STRUCT_SECTION_FOREACH(event2, evt) {
		event2_register_callback(evt, evt_callback);
	}

	signal_processing_init();
	flightstate_init();
	rocket_beeper_logic_start();

	k_sleep(K_SECONDS(1));
	event2_fire(&event_boot);

	#if CONFIG_FILE_SYSTEM
	int minlog, maxlog, count;
	rc = get_log_count("/lfs/data", &minlog, &maxlog, &count);
	char log_file_path[64];
	get_log_path(log_file_path, 64, maxlog + 1);
	rocket_data_logging_set_name(log_file_path);
	#endif

	mission_state_t last_state = STATE_STARTUP;
	while(true) {
		// main event loop. This gets syncronized to daq frequency in signal_processing()
		signal_processing_main();
		flightstate_update();

		if (flightstate_get_state() != last_state) {
			last_state = flightstate_get_state();
			LOG_INF("changed flightstate to %d", last_state);
		}

		#if CONFIG_FILE_SYSTEM
		rocket_data_logging();
		#endif
	}
	
	while(true) {
		k_sleep(K_MSEC(1000));
	}

	return 0;
}
```

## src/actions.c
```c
#include "actions.h"
#include "beeper.h"
#include "eventtimer.h"
#include "pyros.h"
#include "servos.h"
#include <logging/log.h>
#include <zephyr.h>

LOG_MODULE_REGISTER(actions, CONFIG_LOG_DEFAULT_LEVEL);

/* Forward declaration of action functions */
#define ACTION(type, callback) static void callback(void *action_data);
ACTIONS_DESCRIPTION
#undef ACTION

#define ACTION(type, callback) [type] = callback,
static action_activate_t *action_functions[ACTION_END] = {ACTIONS_DESCRIPTION};
#undef ACTION

static void action_timer_start(void *action_data)
{
	struct event_timer_data *data = action_data;
	event_timer_start(data->timer_number, data->count, data->cyclic);
}

static void action_timer_stop(void *action_data)
{
	struct event_timer_data *data = action_data;
	event_timer_stop(data->timer_number);
}

static void action_beep(void *action_data)
{
	struct beep_action_data *data = action_data;

	beep(data->duration, data->pitch);
}

static void action_beeper_set_volume(void *action_data)
{
	struct action_beeper_volume_data *data = action_data;
	beeper_set_volume(data->volume);
}

static void action_servo_set(void *action_data)
{
	struct servo_action_data *data = action_data;
	servo_set_us(data->servo_number, data->position);
}

static void action_pyro_fire(void *action_data)
{
	uint8_t *pyro_number = action_data;
	pyros_fire(*pyro_number);
}

void action_call(struct action *act)
{
	action_functions[act->type](act->action_data);
}

void action_init(struct action *action, action_type_t type, void *action_data)
{
	action->type = type;
	action->action_data = action_data;
	action->next = NULL;
}
```

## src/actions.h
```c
#ifndef ALTURIA_ACTIONS_H
#define ALTURIA_ACTIONS_H

#include <zephyr.h>

typedef void(action_activate_t)(void *data);

#define ACTIONS_DESCRIPTION                                                    \
	ACTION(ACTION_TIMER_START, action_timer_start)                         \
	ACTION(ACTION_TIMER_STOP, action_timer_stop)                           \
	ACTION(ACTION_BEEP, action_beep)                                       \
	ACTION(ACTION_BEEPER_SET_VOLUME, action_beeper_set_volume)             \
	ACTION(ACTION_SERVO_SET, action_servo_set)                             \
	ACTION(ACTION_PYRO_FIRE, action_pyro_fire)

#define ACTION(type, callback) type,
typedef enum {
	ACTIONS_DESCRIPTION ACTION_END,
} action_type_t;
#undef ACTION

struct action {
	action_type_t type;
	void *action_data;
	struct action *next;
};

struct event_timer_data {
	int32_t count;
	uint8_t timer_number;
	bool cyclic;
};

struct beep_action_data {
	int32_t duration;
	int32_t pitch;
};

struct servo_action_data {
	uint8_t servo_number;
	uint32_t position;
};

struct action_beeper_volume_data {
	uint8_t volume;
};

void action_call(struct action *act);
void action_init(struct action *action, action_type_t type, void *action_data);
#endif
```

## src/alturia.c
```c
/*
 * Alturia Firmware - The firmware for the alturia flight computer
 *
 * Copyright (c) Thomas Schmid, 2019
 *
 * Authors:
 *  Thomas Schmid <tom@lfence.de>
 *
 * This work is licensed under the terms of the GNU GPL, version 3.  See
 * the COPYING file in the top-level directory.
 */

#include "alturia.h"
#include "beeper.h"
#include <zephyr/logging/log_ctrl.h>
#include <zephyr/logging/log.h>
#include <zephyr/fs/fs.h>
#include "string.h"

LOG_MODULE_REGISTER(alturia, CONFIG_LOG_DEFAULT_LEVEL);

void start_delay(int delay) {
	while (delay-- > 0) {
		if (delay >= 3) {
			k_sleep(K_SECONDS(1));
			beep(50,400);
		}
		else if (delay >= 2) {
			k_sleep(K_MSEC(500));
			beep(50,400);
			k_sleep(K_MSEC(500));
			beep(50,400);
		} else {
			k_sleep(K_MSEC(250));
			beep(50,400);
			k_sleep(K_MSEC(250));
			beep(50,450);
			k_sleep(K_MSEC(250));
			beep(50,400);
			k_sleep(K_MSEC(250));
			beep(50,450);
		}
	}
}

int next_datalog_path(char *path, size_t n)
{
	struct fs_dirent entry;
	char _path[32];
	int rc;

	while (true) {
		rc = fs_stat(_path, &entry);
		if(rc == -ENOENT){
			break;
		} else if (rc <= 0) {
			return rc;
		}
	}

	strlcpy(path, _path, n);
	return 0;
}

int check_free_space(void)
{
	struct fs_statvfs stats;
	uint32_t free_space;
	int rc;

	rc = fs_statvfs(ALTURIA_FLASH_MP, &stats);

	free_space = stats.f_bfree * stats.f_bsize;

	LOG_INF("Free flash space: %d bytes", free_space);

	if (free_space <= ALTURIA_MINIMUM_FREE_SPACE) {
		return -1;
	}

	return 0;
}

void fatal_error()
{
	while(1) {
		beepn(200, 3, 1000000000/500);
		k_sleep(K_MSEC(400*4));
		beepn(200, 3, 1000000000/400);
		k_sleep(K_MSEC(400*4));
	}
	k_panic();
}
```

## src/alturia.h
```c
/*
 * Alturia Firmware - The firmware for the alturia flight computer
 *
 * Copyright (c) Thomas Schmid, 2019
 *
 * Authors:
 *  Thomas Schmid <tom@lfence.de>
 *
 * This work is licensed under the terms of the GNU GPL, version 3.  See
 * the COPYING file in the top-level directory.
 */

#ifndef ALTURIA__MAIN__H
#define ALTURIA__MAIN__H

#include <zephyr/kernel.h>
#include <zephyr/drivers/gpio.h>
#include <zephyr/device.h>
#include "rocket/flightstate.h"

#if DT_NODE_EXISTS(DT_ALIAS(pressure_sensor))
    #define ALTURIA_HAS_PRESSURE_SENSOR
#endif
#if DT_NODE_EXISTS(DT_ALIAS(acc_sensor))
    #define ALTURIA_HAS_ACC_SENSOR
#endif
#if DT_NODE_EXISTS(DT_ALIAS(gyro_sensor))
    #define ALTURIA_HAS_GYRO_SENSOR
#endif

#if DT_NODE_EXISTS(DT_NODELABEL(beeper))
    #define ALTURIA_HAS_BEEPER
#endif

#define ALTURIA_FLASH_MP                    "/lfs"
#define ALTURIA_MINIMUM_FREE_SPACE	    1024*3

void __attribute__((noreturn)) panic(void);
void start_delay(int delay);
int next_datalog_path(char *path, size_t n);
int check_free_space(void);
void fatal_error(void);



#endif
```

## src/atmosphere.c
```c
/*
 * Alturia Firmware - The firmware for the alturia flight computer
 *
 * Copyright (c) Thomas Schmid, 2019
 *
 * Authors:
 *  Thomas Schmid <tom@lfence.de>
 *
 * This work is licensed under the terms of the GNU GPL, version 3.  See
 * the COPYING file in the top-level directory.
 */

#include "atmosphere.h"
#include "constants.h"
#include <math.h>

struct layer {
	float h_base, p_base, t_base, t_lapse_rate;
};

static struct layer layers[] = {
	{ -610.0f,      1.089e5f, 292.15f, -6.5e-3f },
	{ 11000.0f,             0,       0,      0.f },
	{ 20000.0f,             0,       0,  1.0e-3f },
	{ 32000.0f,             0,       0,  2.8e-3f },
	{ 47000.0f,             0,       0,      0.f },
	{ 51000.0f,             0,       0, -2.8e-3f },
	{ 71000.0f,             0,       0, -2.0e-3f }
};

#define LAYER_COUNT sizeof(layers) / sizeof(layers[0])

int validate_height(float h)
{
	if (h < layers[0].h_base) {
		return -1;
	} else if (h > layers[LAYER_COUNT-1].h_base) {
		return 1;
	}
	return 0;
}

int validate_pressure(float p)
{
	if (p > layers[0].p_base) {
		return -1;
	} else if (p < layers[LAYER_COUNT-1].p_base) {
		return 1;
	}
	return 0;
}

struct layer *get_layer_from_h(float h)
{	int i = 1;
	for (; i < LAYER_COUNT; i++) {
		if (layers[i].h_base >= h) {
			break;
		}
	}
	return layers + (i - 1);
}

struct layer *get_layer_from_p(float p)
{
	int i = 1;
	for (; i < LAYER_COUNT; i++) {
		if (layers[i].p_base <= p) {
			break;
		}
	}
	return layers + (i - 1);
}

float calc_temperature(float h)
{
	int res = validate_height(h);

	if (res == -1) {
		return layers[0].t_base;
	} else if (res == 1) {
		return layers[LAYER_COUNT-1].t_base;
	}

	struct layer *layer = get_layer_from_h(h);

	return layer->t_base + layer->t_lapse_rate * (h - layer->h_base);
}

float calc_pressure(float h)
{
	int res = validate_height(h);

	if (res == -1) {
		return layers[0].p_base;
	} else if (res == 1) {
		return layers[LAYER_COUNT-1].p_base;
	}

	struct layer *layer = get_layer_from_h(h);

	if (layer->t_lapse_rate != 0.f) {
		float base = layer->t_base / (layer->t_base +
					      layer->t_lapse_rate *
					      (h - layer->h_base));
		float exponent = G / (RS_AIR * layer->t_lapse_rate);

		return layer->p_base * powf(base, exponent);
	}

	return layer->p_base *
	       exp(-G * (h - layer->h_base) / (RS_AIR * layer->t_base));
}

float calc_height(float p)
{
	int res = validate_pressure(p);

	if (res == -1) {
		return layers[0].h_base;
	} else if (res == 1) {
		return layers[LAYER_COUNT-1].h_base;
	}

	struct layer *layer = get_layer_from_p(p);

	if (layer->t_lapse_rate != 0.f) {
		return layer->h_base + layer->t_base / layer->t_lapse_rate *
		       (-1.f + powf(p / layer->p_base,
				    -RS_AIR * layer->t_lapse_rate / G));
	}

	return layer->h_base - (RS_AIR * layer->t_base / G) *
	       logf(p / layer->p_base);
}

void init()
{
	for (int i = 1; i < sizeof(layers) / sizeof(layers[0]); i++) {
		layers[i].p_base = calc_pressure(layers[i].h_base);
		layers[i].t_base = calc_temperature(layers[i].h_base);
	}
}
```

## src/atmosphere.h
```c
/*
 * Alturia Firmware - The firmware for the alturia flight computer
 *
 * Copyright (c) Thomas Schmid, 2019
 *
 * Authors:
 *  Thomas Schmid <tom@lfence.de>
 *
 * This work is licensed under the terms of the GNU GPL, version 3.  See
 * the COPYING file in the top-level directory.
 */

#ifndef __ALTURIA_ATMOSPHERE_H__
#define __ALTURIA_ATMOSPHERE_H__

void init_atmosphere();
float calc_height(float pressure);
float calc_pressure(float height);
float calc_temperature(float height);

#endif /* __ALTURIA_ATMOSPHERE_H__ */
```

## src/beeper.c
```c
/*
 * Alturia Firmware - The firmware for the alturia flight computer
 *
 * Copyright (c) Thomas Schmid, 2019
 *
 * Authors:
 *  Thomas Schmid <tom@lfence.de>
 *
 * This work is licensed under the terms of the GNU GPL, version 3.  See
 * the COPYING file in the top-level directory.
 */

#include "beeper.h"
#include "alturia.h"
#include <stdint.h>
#include <zephyr/device.h>
#include <zephyr/devicetree.h>
#include <zephyr/drivers/pwm.h>
#include <zephyr/init.h>
#include <zephyr/logging/log.h>

#ifdef ALTURIA_HAS_BEEPER
LOG_MODULE_REGISTER(beeper, CONFIG_LOG_DEFAULT_LEVEL);
K_SEM_DEFINE(lock, 1, 1);

static const struct pwm_dt_spec beeper_spec =
    PWM_DT_SPEC_GET(DT_NODELABEL(beeper));

static uint8_t vol = VOLUME;
struct k_work_delayable work;
struct beep_sequenz_data {
	struct k_work_delayable work;
	uint32_t count;
	uint32_t pitch;
	int32_t delay;
} beep_sequenz;

static void beep_work_handler(struct k_work *item)
{
	int res;

	struct k_work_delayable *dw = k_work_delayable_from_work(item);
	struct beep_sequenz_data *data =
	    CONTAINER_OF(dw, struct beep_sequenz_data, work);

	if (data->count % 2) {
		res = pwm_set_dt(&beeper_spec, data->pitch, 0);
	} else {
		res = pwm_set_dt(&beeper_spec, data->pitch,
				 ((data->pitch / 2) * vol) / 100);
	}

	if (res) {
		goto err_free_lock;
	}

	data->count--;
	if (data->count > 0) {
		k_work_reschedule(dw, K_MSEC(data->delay));
		return;
	}

err_free_lock:
	k_sem_give(&lock);
	return;
}

int beep(int32_t duration, int32_t pitch) { return beepn(duration, 1, pitch); }

static int beep_cmd(int32_t pitch)
{
	return pwm_set_dt(&beeper_spec, pitch, ((pitch / 2) * vol) / 100);
}

int beep_on(int32_t pitch) { return beep_cmd(pitch); }

int beep_off() { return beep_cmd(0); }

int beepn(int32_t duration, int32_t count, int32_t pitch)
{
	if (k_sem_take(&lock, K_NO_WAIT) == 0) {
		beep_sequenz.count = count * 2;
		beep_sequenz.delay = duration;
		beep_sequenz.pitch = pitch;

		k_work_init_delayable(&beep_sequenz.work, beep_work_handler);
		k_work_schedule(&(beep_sequenz.work), K_NO_WAIT);
		return 0;
	}
	return -EBUSY;
}

int beeper_set_volume(uint8_t volume)
{
	if (volume > 100) {
		return -EINVAL;
	}

	vol = volume;
	return 0;
}

static int beeper_init()
{
	if (!device_is_ready(beeper_spec.dev)) {
		LOG_ERR("Beeper device is not ready");
		return -ENODEV;
	}

	return 0;
}

SYS_INIT(beeper_init, APPLICATION, 0);
#endif
```

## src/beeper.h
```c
/*
 * Alturia Firmware - The firmware for the alturia flight computer
 *
 * Copyright (c) Thomas Schmid, 2019
 *
 * Authors:
 *  Thomas Schmid <tom@lfence.de>
 *
 * This work is licensed under the terms of the GNU GPL, version 3.  See
 * the COPYING file in the top-level directory.
 */

#ifndef ALTURIA__BEEPER__H
#define ALTURIA__BEEPER__H

#include <stdint.h>
#include "alturia.h"

#ifdef ALTURIA_HAS_BEEPER

#define VOLUME 100 /* 0 to 100 */
#define BEEP_FREQUENCY_HZ(n) (1000000000/n)

int beep_off();
int beep_on(int32_t pitch);
int beep(int32_t duration, int32_t pitch);
int beepn(int32_t duration, int32_t count, int32_t pitch);
int beeper_set_volume(uint8_t volume);

#endif
#endif
```

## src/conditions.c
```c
#include "conditions.h"
#include <logging/log.h>

LOG_MODULE_DECLARE(event_system);

void condition_init(struct condition *cond, condition_type_t type,
		    flight_state_var_t variable, numeric_t parameter)
{
	cond->type = type;
	cond->last_var.type = NUMERIC_TYPE_INVALID;
	cond->param = parameter,
	cond->var = variable,
	cond->next = NULL;
}

static int condition_goes_above(condition_t *cond, const numeric_t *var_val, bool *res)
{
	int rc = 0;

	if (cond->last_var.type == NUMERIC_TYPE_INVALID) {
		*res = 0;
		cond->last_var = *var_val;
		return 0;
	}

	bool resi;
	bool resi2;
	rc = numeric_gt(var_val, &cond->param, &resi);

	if (rc != 0) {
		return rc;
	}

	rc = numeric_loe(&cond->last_var, &cond->param, &resi2);
	cond->last_var = *var_val;

	if(resi && resi2) {
		*res = true;
	} else {
		*res = false;
	}

	return rc;
}

static int condition_goes_below(condition_t *cond, const numeric_t *var_val, bool *res)
{
	int rc = 0;

	if (cond->last_var.type == NUMERIC_TYPE_INVALID) {
		*res = 0;
		cond->last_var = *var_val;
		return 0;
	}

	bool resi;
	bool resi2;
	rc = numeric_lt(var_val, &cond->param, &resi);

	if (rc != 0) {
		return rc;
	}

	rc = numeric_goe(&cond->last_var, &cond->param, &resi2);
	cond->last_var = *var_val;

	if(resi && resi2) {
		*res = true;
	} else {
		*res = false;
	}

	return rc;
}

bool conditions_evaluate(condition_t *cond) {
	if (cond == NULL) {
		return true;
	}

	bool ret = true;
	int rc = 0;
	while (1) {
		bool res;
		numeric_t val = flightstate_get_var(cond->var);
		switch (cond->type) {
		case COND_EQ:
			rc = numeric_eq(&val, &cond->param, &res);
		break;
		case COND_GOE:
			rc = numeric_goe(&val, &cond->param, &res);
		break;
		case COND_GT:
			rc = numeric_gt(&val, &cond->param, &res);
		break;
		case COND_LOE:
			rc = numeric_loe(&val, &cond->param, &res);
		break;
		case COND_LT:
			rc = numeric_lt(&val, &cond->param, &res);
		break;
		case COND_GOES_BELOW:
			rc = condition_goes_below(cond, &val, &res);
		break;
		case COND_GOES_ABOVE:
			rc = condition_goes_above(cond, &val, &res);
		break;
		}

		if (rc != 0) {
			LOG_ERR("comparing numerics with differnt type");
		}

		ret &= res;

		if(!ret) {
			break;
		}

		if (cond->next == NULL) {
			break;
		}

		cond = cond->next;
	}

	return ret;
}
```

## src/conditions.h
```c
#ifndef ALTURIA_CONDITIONS_H
#define ALTURIA_CONDITIONS_H

#include <zephyr.h>
#include <stdbool.h>
#include "flightstate.h"
#include "numeric.h"

typedef enum condition_type {
	COND_EQ,
	COND_GOE,
	COND_GT,
	COND_LOE,
	COND_LT,
	COND_GOES_ABOVE,
	COND_GOES_BELOW,
} condition_type_t;

typedef struct condition {
	condition_type_t type;
	flight_state_var_t var;
	numeric_t last_var;
	numeric_t param;
	struct condition *next;
} condition_t;

bool conditions_evaluate(struct condition *cond);
bool condition_validate(struct condition *cond);
void condition_init(struct condition *cond, condition_type_t type,
		    flight_state_var_t variable, numeric_t parameter);

#endif
```

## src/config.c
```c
#include "lua_execution_engine/lua_execution_engine.h"
#include <zephyr/logging/log.h>

LOG_MODULE_DECLARE(alturia);

int config_read_sys_config(const char *path)
{
	char owner[32];
	if (!file_exists("/lfs/sys/config.lua")) {
		return -ENOENT;
	}

	lua_engine_dofile("/lfs/sys/config.lua");

	// TODO: Make sure config is completly read before progressing
	lua_read_global_string_field("alturia_config", "owner", owner, 32);
	return 0;
}

float config_get_float(const char *key) { return -ENOENT; }
int config_get_int(const char *key) { return -ENOENT; }
const char *config_get_string(const char *key) { return NULL; }
```

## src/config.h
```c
#ifndef ALTURIA__CONFIG__H
#define ALTURIA__CONFIG__H

int config_read_sys_config(const char *path);
float config_get_float(const char *key);
int config_get_int(const char *key);
const char *config_get_string(const char *key);

#endif
```
